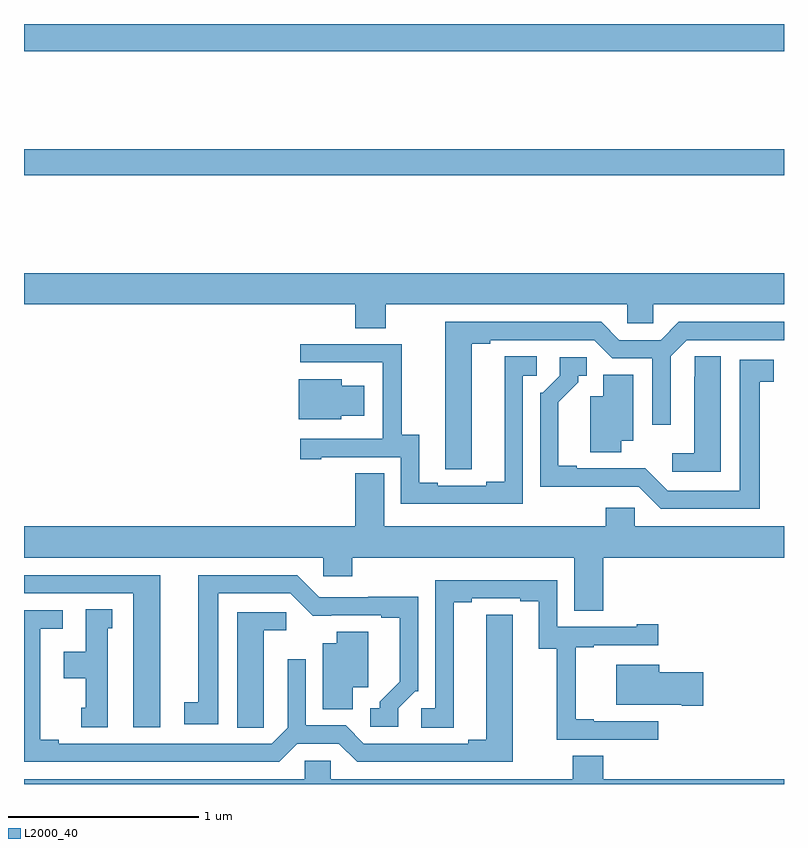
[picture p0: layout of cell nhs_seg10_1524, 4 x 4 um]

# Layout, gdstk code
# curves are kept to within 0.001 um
import gdstk
lib = gdstk.Library(unit=1e-6, precision=1e-09)
def R(c, l, rs):  # rectangles x0, y0, x1, y1
    for r in rs: c.add(gdstk.rectangle(r[:2], r[2:], *l))
def P(c, l, *ps):  # polygons
    for p in ps: c.add(gdstk.Polygon(p, *l))
L2000_40 = (2000, 40)

nhs_seg10_1524 = lib.new_cell('nhs_seg10_1524')
R(nhs_seg10_1524, L2000_40, [(191,1259.704,195,1259.84), (191,1260.356,195,1260.5)])
P(nhs_seg10_1524, L2000_40, [(192.903,1259.024),(194.175,1259.024),(194.175,1258.926),(194.313,1258.926),(194.313,1259.024),(195,1259.024),(195,1259.188),(191,1259.188),(191,1259.024),(192.743,1259.024),(192.743,1258.9),(192.903,1258.9)],
  [(193.357,1258.816),(193.453,1258.816),(193.453,1258.836),(194.001,1258.836),(194.097,1258.74),(194.307,1258.74),(194.307,1258.392),(194.403,1258.392),(194.403,1258.752),(194.487,1258.836),(195,1258.836),(195,1258.932),(194.447,1258.932),(194.351,1258.836),(194.133,1258.836),(194.037,1258.932),(193.217,1258.932),(193.218,1258.156),(193.357,1258.156)],
  [(193.626,1258.65),(193.699,1258.65),(193.699,1258.751),(193.529,1258.751),(193.529,1258.091),(193.433,1258.091),(193.433,1258.071),(193.177,1258.071),(193.177,1258.086),(193.081,1258.086),(193.081,1258.337),(192.987,1258.337),(192.987,1258.815),(192.453,1258.815),(192.453,1258.719),(192.888,1258.719),(192.888,1258.317),(192.453,1258.317),(192.453,1258.209),(192.565,1258.209),(192.565,1258.221),(192.984,1258.221),(192.984,1257.975),(193.626,1257.975)],
  [(194.668,1258.751),(194.529,1258.751),(194.529,1258.643),(194.528,1258.643),(194.528,1258.24),(194.412,1258.24),(194.412,1258.143),(194.668,1258.143)],
  [(194.872,1258.618),(194.947,1258.618),(194.947,1258.734),(194.768,1258.734),(194.768,1258.044),(194.388,1258.044),(194.27,1258.162),(193.909,1258.161),(193.909,1258.174),(193.813,1258.174),(193.813,1258.51),(193.918,1258.615),(193.918,1258.65),(193.963,1258.65),(193.963,1258.746),(193.821,1258.746),(193.821,1258.65),(193.731,1258.56),(193.716,1258.56),(193.716,1258.064),(194.235,1258.065),(194.352,1257.948),(194.872,1257.948)],
  [(194.143,1258.307),(194.206,1258.307),(194.206,1258.655),(194.048,1258.655),(194.048,1258.54),(193.979,1258.54),(193.979,1258.246),(194.143,1258.246)],
  [(192.669,1258.439),(192.79,1258.439),(192.79,1258.597),(192.673,1258.597),(192.673,1258.63),(192.446,1258.63),(192.446,1258.421),(192.669,1258.421)],
  [(194.048,1257.692),(195,1257.692),(195,1257.856),(194.214,1257.856),(194.214,1257.954),(194.063,1257.954),(194.063,1257.856),(192.895,1257.856),(192.895,1258.136),(192.743,1258.136),(192.743,1257.856),(191,1257.856),(191,1257.692),(192.576,1257.692),(192.576,1257.594),(192.728,1257.594),(192.728,1257.692),(193.895,1257.692),(193.895,1257.412),(194.048,1257.412)],
  [(191.716,1257.6),(191,1257.6),(191,1257.504),(191.576,1257.504),(191.576,1256.799),(191.716,1256.799)],
  [(192.969,1256.898),(193.059,1256.988),(193.074,1256.988),(193.074,1257.485),(192.811,1257.485),(192.811,1257.483),(192.555,1257.483),(192.438,1257.6),(191.918,1257.6),(191.918,1256.93),(191.844,1256.93),(191.844,1256.814),(192.022,1256.814),(192.022,1257.504),(192.402,1257.504),(192.52,1257.386),(192.881,1257.387),(192.881,1257.375),(192.977,1257.375),(192.977,1257.038),(192.872,1256.933),(192.872,1256.898),(192.822,1256.898),(192.822,1256.802),(192.969,1256.802)],
  [(194.338,1256.829),(193.999,1256.829),(193.999,1256.842),(193.904,1256.842),(193.904,1257.219),(193.999,1257.219),(193.999,1257.231),(194.338,1257.231),(194.338,1257.34),(194.225,1257.34),(194.225,1257.327),(193.806,1257.327),(193.806,1257.573),(193.164,1257.573),(193.164,1256.898),(193.092,1256.898),(193.092,1256.797),(193.261,1256.797),(193.261,1257.457),(193.357,1257.457),(193.357,1257.477),(193.613,1257.477),(193.613,1257.462),(193.709,1257.462),(193.709,1257.211),(193.804,1257.211),(193.804,1256.733),(194.338,1256.733)],
  [(191.44,1257.321),(191.464,1257.321),(191.464,1257.419),(191.324,1257.419),(191.324,1257.196),(191.21,1257.196),(191.21,1257.056),(191.324,1257.056),(191.324,1256.901),(191.3,1256.901),(191.3,1256.799),(191.44,1256.799)],
  [(192.439,1256.712),(192.657,1256.712),(192.753,1256.616),(193.573,1256.616),(193.572,1257.392),(193.433,1257.392),(193.433,1256.732),(193.337,1256.732),(193.337,1256.712),(192.789,1256.712),(192.693,1256.808),(192.483,1256.808),(192.483,1257.157),(192.387,1257.157),(192.387,1256.796),(192.303,1256.712),(191.182,1256.712),(191.182,1256.732),(191.086,1256.732),(191.086,1257.318),(191.203,1257.318),(191.203,1257.414),(191,1257.414),(191,1256.616),(192.343,1256.616)],
  [(192.261,1256.905),(192.262,1256.905),(192.262,1257.308),(192.379,1257.308),(192.379,1257.405),(192.122,1257.405),(192.122,1256.797),(192.261,1256.797)],
  [(192.73,1257.008),(192.811,1257.008),(192.811,1257.302),(192.647,1257.302),(192.647,1257.241),(192.572,1257.241),(192.572,1256.893),(192.73,1256.893)],
  [(194.575,1257.089),(194.344,1257.089),(194.344,1257.127),(194.117,1257.127),(194.117,1256.918),(194.462,1256.918),(194.462,1256.911),(194.575,1256.911)],
  [(195,1256.524),(194.048,1256.524),(194.048,1256.648),(193.888,1256.648),(193.888,1256.524),(192.615,1256.524),(192.615,1256.622),(192.477,1256.622),(192.477,1256.524),(191,1256.524),(191,1256.5),(195,1256.5)])

lib.write_gds('nhs_seg10_1524.gds')
